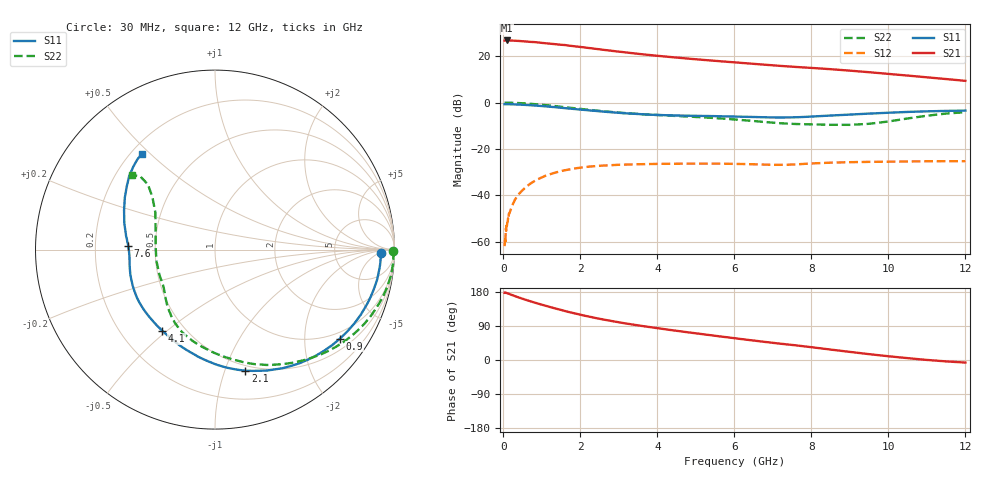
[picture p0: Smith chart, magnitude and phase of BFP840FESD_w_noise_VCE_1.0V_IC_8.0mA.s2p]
! Infineon Technologies  Discrete & RF Semiconductors
! BFP840FESD
! VCE =  1.0 V,  IC =  8.0 mA
! Common Emitter S-Parameters:  May 2012
# GHz  S  MA  R  50
!  f  S11  S21  S12  S22
! GHz  MAG  ANG  MAG  ANG  MAG  ANG  MAG  ANG
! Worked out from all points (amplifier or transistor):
!   103 points, 30 MHz to 12 GHz, reference 50 ohm
!   highest |S21| = 26.8 dB at 80 MHz (marker M1)
!   |S21| within 3 dB of that: start of sweep to 2.097 GHz
!   unconditionally stable (mu >= 1): 6.63 GHz to end of sweep
!   at 400 MHz: K = 0.07, MSG = 33.1 dB, |S12| = -39.5 dB
!   at 3.7 GHz: K = 0.48, MSG = 23.6 dB, |S12| = -26.5 dB
!   at 12 GHz: K = 1.23, MAG = 14.4 dB, |S12| = -25.3 dB
!   lowest NFmin = 0.61 dB at 450 MHz
!   S11 on the Smith chart (normalised r, x): 30 MHz: 24, -6; 900 MHz: 0.79, -2.93; 2.1 GHz: 0.45, -1.18; 4.1 GHz: 0.38, -0.48; 7.6 GHz: 0.35, +0.02; 12 GHz: 0.24, +0.47
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0.03  0.9253 -1.2  21.75 177.2  0.0008 77.5  0.9897 -0.5
0.04  0.9252 -1.6  21.79 176.9  0.0011 97.1  0.9913 -0.9
0.05  0.9239 -2.0  21.91 178.0  0.0009 138.5  0.9926 -1.2
0.06  0.9252 -2.4  21.85 177.6  0.0019 107.2  0.994 -1.6
0.08  0.9242 -3.3  21.93 176.9  0.0025 89.3  0.9949 -2.4
0.3  0.915 -12.3  21.64 168.5  0.0081 82.9  0.9862 -10.2
0.5  0.8987 -20.2  21.1 161.5  0.013 77.3  0.9675 -16.9
0.8  0.8668 -31.8  20.23 151.8  0.0202 69.4  0.9289 -26.5
0.9  0.8549 -35.5  19.84 148.8  0.0224 66.9  0.9136 -29.6
1.2  0.8162 -46.3  18.73 140.1  0.0283 59.9  0.8651 -38.7
1.6  0.7601 -60.4  17.46 129.2  0.0348 51.4  0.7967 -50.2
2.1  0.6956 -75.9  15.52 117.1  0.0405 42.2  0.7174 -63.5
2.6  0.6399 -89.5  13.77 106.8  0.0439 35.1  0.6521 -74.9
3.1  0.5929 -101.8  12.32 97.7  0.0458 29.6  0.601 -84.7
3.6  0.5615 -112.7  11.07 89.8  0.047 25.6  0.5625 -93.3
4.1  0.5397 -122.9  10.05 82.6  0.0479 22.4  0.5345 -100.8
5  0.5187 -139.9  8.614 70.4  0.0482 18.2  0.4901 -112.8
6.1  0.4977 -158.2  7.286 56.2  0.0475 14.7  0.4266 -126.8
7.6  0.4839 177.7  5.883 38.6  0.0465 18.5  0.3457 -148.5
8.5  0.5262 163.8  5.262 27.5  0.0507 18.3  0.3323 -168.9
10.5  0.6297 139.4  3.83 4.9  0.0538 16.0  0.4554 140.0
12  0.6719 127.4  2.949 -6.8  0.0545 16.8  0.6215 138.0
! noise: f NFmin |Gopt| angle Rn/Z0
0.45  0.61  0.39  5  0.15
0.9  0.64  0.38  12  0.15
1.5  0.65  0.35  17  0.14
1.9  0.66  0.31  26  0.15
2.4  0.68  0.3  34  0.15
3.5  0.7  0.28  55  0.15
5.5  0.76  0.19  96  0.12
8  0.89  0.16  156  0.12
10  1.03  0.24  -142  0.12
12  1.25  0.41  -119  0.13
